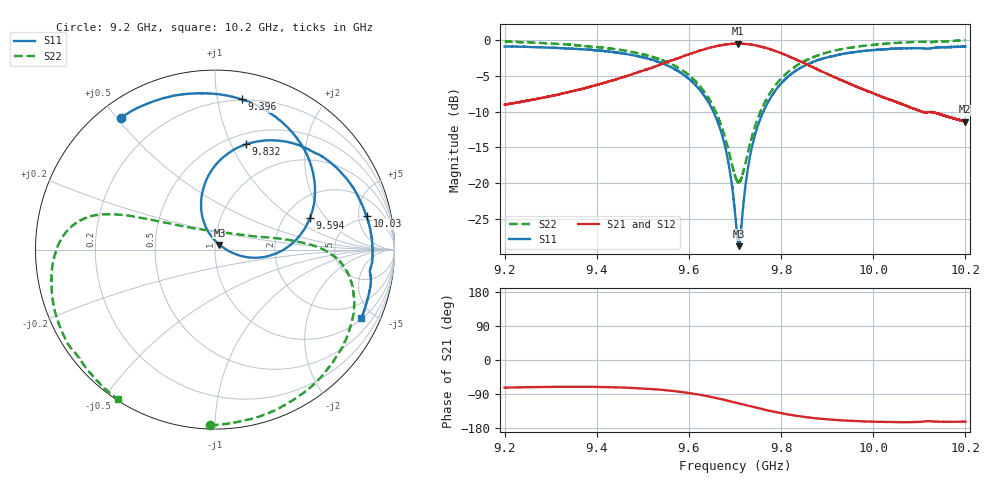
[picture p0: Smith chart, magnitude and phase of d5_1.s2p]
!Agilent Technologies,N5242A,MY51221714,A.09.90.19
!Agilent N5242A: A.09.90.19
!Date: Saturday, March 16, 2024 09:11:52
!Correction: S11(Full 2 Port(1,2))
!S21(Full 2 Port(1,2))
!S12(Full 2 Port(1,2))
!S22(Full 2 Port(1,2))
!S2P File: Measurements: S11, S21, S12, S22:
# Hz S  dB  R 50
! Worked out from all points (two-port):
!   16001 points, 9.2 GHz to 10.2 GHz, reference 50 ohm
!   highest |S21| = -0.49 dB at 9.707 GHz (marker M1); lowest = -11.4 dB at 10.2 GHz (marker M2)
!   |S21| within 3 dB of the highest: 9.535 GHz to 9.859 GHz (323.9 MHz wide, 3.34 % of centre)
!   lowest |S11| = -28.8 dB at 9.708 GHz (marker M3), VSWR 1.07, Z = 52.4 + j2.78 ohm
!   |S11| at or under -10 dB: 9.653 GHz to 9.762 GHz (108.6 MHz wide, 1.12 % of centre)
!   |S22| runs from -19.9 to -0.1 dB; largest |S21 - S12| = 0.011
!   S11 on the Smith chart (normalised r, x): 9.2 GHz: 0.07, +0.51; 9.396 GHz: 0.19, +1.18; 9.594 GHz: 2.73, +1.38; 9.832 GHz: 0.61, +1.14; 10.03 GHz: 4.31, +6.38; 10.2 GHz: 1.05, -4.22
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9.2e9  -0.90 125.6  -9.04 -72.9  -9.03 -73.5  -0.18 -91.5
9.277625e9  -1.00 108.2  -8.13 -71.4  -8.12 -71.8  -0.39 -70.1
9.366688e9  -1.28 87.2  -6.85 -70.8  -6.83 -71.2  -0.78 -46.3
9.395562e9  -1.41 79.9  -6.36 -71.1  -6.34 -71.6  -0.96 -39.0
9.533375e9  -3.04 40.0  -3.54 -78.0  -3.52 -78.4  -2.60 -8.9
9.593562e9  -5.10 18.2  -2.14 -86.0  -2.12 -86.5  -4.58 0.7
9.663938e9  -11.74 -9.6  -0.80 -101.6  -0.79 -102.1  -10.86 13.8
9.685312e9  -16.99 -13.4  -0.58 -107.7  -0.57 -108.2  -15.32 28.4
9.7e9  -24.06 0.4  -0.51 -112.0  -0.49 -112.6  -19.02 56.4
9.706688e9  -28.41 34.8  -0.49 -114.1  -0.49 -114.6  -19.87 77.9
9.708062e9  -28.84 47.2  -0.51 -114.5  -0.48 -115.0  -19.87 82.8
9.729688e9  -17.28 112.3  -0.59 -121.1  -0.58 -121.7  -15.29 135.8
9.749688e9  -11.96 107.9  -0.82 -127.1  -0.80 -127.6  -10.91 149.7
9.784625e9  -7.32 93.6  -1.44 -136.6  -1.45 -137.2  -6.58 157.4
9.832375e9  -4.27 73.5  -2.71 -147.0  -2.71 -147.5  -3.63 162.7
9.866688e9  -3.12 60.5  -3.73 -152.6  -3.71 -153.1  -2.47 166.8
9.950438e9  -1.75 33.4  -6.16 -160.5  -6.16 -161.0  -1.06 -179.6
1.00295e10  -1.25 12.4  -8.18 -163.5  -8.18 -164.0  -0.49 -163.5
1.003338e10  -1.26 11.4  -8.29 -163.4  -8.27 -164.0  -0.46 -162.6
1.010556e10  -1.15 -5.7  -10.01 -162.8  -10.00 -163.3  -0.23 -146.5
1.019975e10  -0.93 -25.2  -11.41 -162.7  -11.39 -163.2  -0.06 -123.0
1.02e10  -0.92 -25.2  -11.41 -162.7  -11.40 -163.3  -0.05 -123.0
